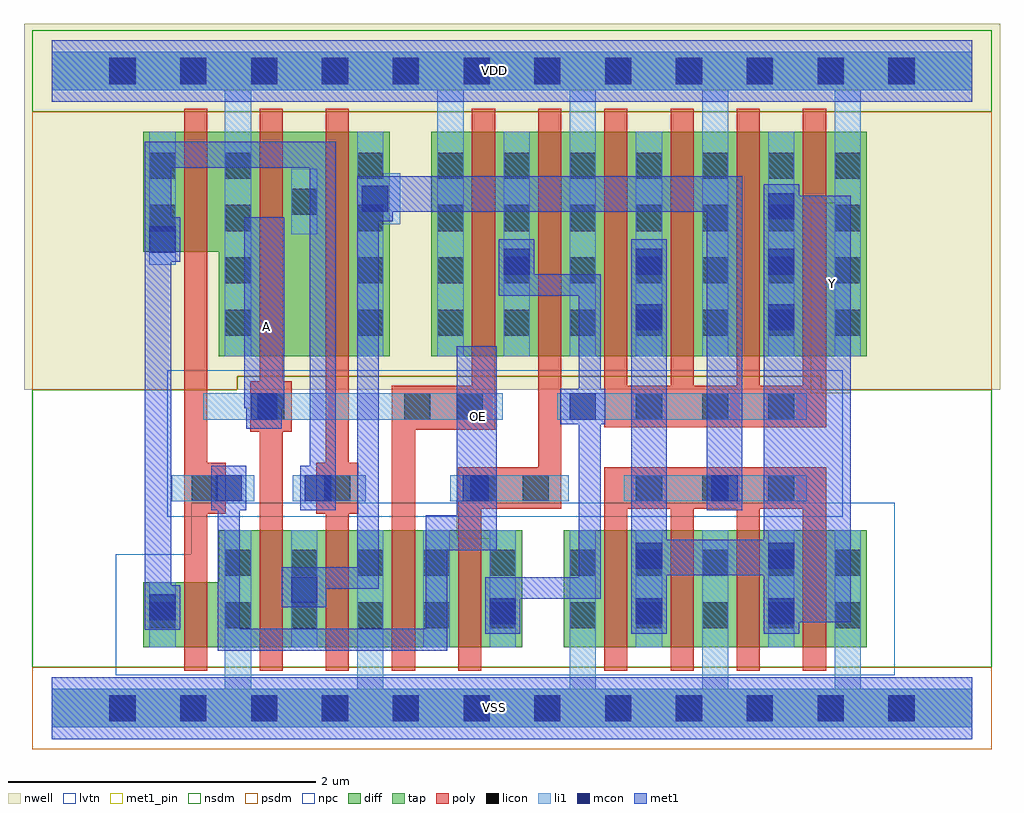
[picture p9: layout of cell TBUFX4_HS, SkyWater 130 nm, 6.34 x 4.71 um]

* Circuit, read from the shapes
.subckt TBUFX4_HS A OE VDD VSS Y
XM1 VSS OE n1 VSS sky130_fd_pr__nfet_01v8_lvt w=0.425 l=0.15
XM2 n2 A VSS VSS sky130_fd_pr__nfet_01v8_lvt w=0.76 l=0.15
XM3 VSS n1 n2 VSS sky130_fd_pr__nfet_01v8_lvt w=0.76 l=0.15
XM4 n3 A VSS VSS sky130_fd_pr__nfet_01v8_lvt w=0.76 l=0.15
XM5 n4 OE n3 VSS sky130_fd_pr__nfet_01v8_lvt w=0.76 l=0.15
XM6 Y n2 VSS VSS sky130_fd_pr__nfet_01v8_lvt w=0.76 l=0.15 m=4
XM7 VDD OE n1 VDD sky130_fd_pr__pfet_01v8 w=0.78 l=0.15
XM8 n5 A VDD VDD sky130_fd_pr__pfet_01v8 w=1.46 l=0.15
XM9 n2 n1 n5 VDD sky130_fd_pr__pfet_01v8 w=1.46 l=0.15
XM10 n4 A VDD VDD sky130_fd_pr__pfet_01v8 w=1.46 l=0.15
XM11 VDD OE n4 VDD sky130_fd_pr__pfet_01v8 w=1.46 l=0.15
XM12 Y n4 VDD VDD sky130_fd_pr__pfet_01v8 w=1.46 l=0.15 m=4
.ends

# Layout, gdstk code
from math import pi, radians
import gdstk
lib = gdstk.Library(unit=1e-6, precision=1e-09)
def R(c, l, rs):  # rectangles x0, y0, x1, y1
    for r in rs: c.add(gdstk.rectangle(r[:2], r[2:], *l))
def A(c, l, x, y, w, h, nx, ny, dx, dy):  # array of equal rectangles
    R(c, l, [(x+i*dx, y+j*dy, x+i*dx+w, y+j*dy+h) for i in range(nx) for j in range(ny)])
def P(c, l, *ps):  # polygons
    for p in ps: c.add(gdstk.Polygon(p, *l))
nwell = (64, 20)
diff = (65, 20)
tap = (65, 44)
poly = (66, 20)
licon = (66, 44)
li1 = (67, 20)
mcon = (67, 44)
met1_pin = (68, 16)
met1 = (68, 20)
nsdm = (93, 44)
psdm = (94, 20)
npc = (95, 20)
lvtn = (125, 44)

l1m1_c_cdns_758729172860 = lib.new_cell('L1M1_C_CDNS_758729172860')
R(l1m1_c_cdns_758729172860, li1, [(-0.165,-0.085,0.165,0.085)])
R(l1m1_c_cdns_758729172860, mcon, [(-0.085,-0.085,0.085,0.085)])
R(l1m1_c_cdns_758729172860, met1, [(-0.115,-0.145,0.115,0.145)])

pyl1con_c_cdns_758729172 = lib.new_cell('PYL1CON_C_CDNS_758729172862')
R(pyl1con_c_cdns_758729172, poly, [(-0.135,-0.165,0.135,0.165)])
R(pyl1con_c_cdns_758729172, licon, [(-0.085,-0.085,0.085,0.085)])
R(pyl1con_c_cdns_758729172, npc, [(-0.185,-0.185,0.185,0.185)])

l1m1_c_cdns_758729172861 = lib.new_cell('L1M1_C_CDNS_758729172861')
R(l1m1_c_cdns_758729172861, li1, [(-0.085,-0.165,0.085,0.165)])
R(l1m1_c_cdns_758729172861, mcon, [(-0.085,-0.085,0.085,0.085)])
R(l1m1_c_cdns_758729172861, met1, [(-0.115,-0.145,0.115,0.145)])

l1m1_c_cdns_758729172864 = lib.new_cell('L1M1_C_CDNS_758729172864')
R(l1m1_c_cdns_758729172864, li1, [(-0.085,-0.345,0.085,0.345)])
R(l1m1_c_cdns_758729172864, mcon, [(-0.085,-0.265,0.085,-0.095), (-0.085,0.095,0.085,0.265)])
R(l1m1_c_cdns_758729172864, met1, [(-0.115,-0.325,0.115,0.325)])

c_l1m1_c_cdns_758729172861 = lib.new_cell('L1M1_C_CDNS_7587291728613')
R(c_l1m1_c_cdns_758729172861, li1, [(-0.085,-0.525,0.085,0.525)])
A(c_l1m1_c_cdns_758729172861, mcon, -0.085, -0.445, 0.17, 0.17, 1, 3, 0, 0.36)
R(c_l1m1_c_cdns_758729172861, met1, [(-0.115,-0.505,0.115,0.505)])

licondiff_c_cdns_7587291 = lib.new_cell('LICONDIFF_C_CDNS_7587291728611')
R(licondiff_c_cdns_7587291, diff, [(-0.125,-0.145,0.125,0.145)])
R(licondiff_c_cdns_7587291, licon, [(-0.085,-0.085,0.085,0.085), (-0.085,-0.085,0.085,0.085)])

l1m1_c_cdns_758729172863 = lib.new_cell('L1M1_C_CDNS_758729172863')
R(l1m1_c_cdns_758729172863, li1, [(-0.085,-0.165,0.085,0.165)])
R(l1m1_c_cdns_758729172863, mcon, [(-0.085,-0.085,0.085,0.085)])
R(l1m1_c_cdns_758729172863, met1, [(-0.145,-0.115,0.145,0.115)])

l1m1_c_cdns_758729172862 = lib.new_cell('L1M1_C_CDNS_7587291728620')
R(l1m1_c_cdns_758729172862, li1, [(-0.085,-0.165,0.165,0.165)])
R(l1m1_c_cdns_758729172862, mcon, [(-0.085,-0.085,0.085,0.085)])
R(l1m1_c_cdns_758729172862, met1, [(-0.115,-0.145,0.115,0.145)])

tbufx4_hs = lib.new_cell('TBUFX4_HS')
R(tbufx4_hs, nwell, [(-0.18,2.07,6.16,4.445)])
R(tbufx4_hs, diff, [(3.325,0.395,5.295,1.155), (2.465,2.285,5.295,3.745)])
P(tbufx4_hs, diff, [(2.195,3.745),(0.595,3.745),(0.595,2.965),(1.085,2.965),(1.085,2.285),(2.195,2.285)],
  [(3.055,1.155),(1.085,1.155),(1.085,0.82),(0.595,0.82),(0.595,0.395),(3.055,0.395)])
A(tbufx4_hs, poly, 3.59, 0.245, 0.15, 1.32, 4, 1, 0.43, 0)
A(tbufx4_hs, poly, 3.59, 1.825, 0.15, 2.07, 4, 1, 0.43, 0)
R(tbufx4_hs, poly, [(0.86,0.245,1.01,3.895), (1.35,0.245,1.5,3.895), (1.78,0.245,1.93,1.305), (1.78,1.325,1.93,3.895)])
P(tbufx4_hs, poly, [(2.88,3.895),(2.73,3.895),(2.73,2.095),(2.21,2.095),(2.21,0.245),(2.36,0.245),(2.36,1.81),(2.88,1.81)],
  [(3.31,3.895),(3.16,3.895),(3.16,1.565),(2.64,1.565),(2.64,0.245),(2.79,0.245),(2.79,1.295),(3.31,1.295)])
A(tbufx4_hs, licon, 0.375, -0.085, 0.17, 0.17, 12, 2, 0.46, 4.14)
A(tbufx4_hs, licon, 1.125, 0.52, 0.17, 0.17, 5, 2, 0.43, 0.34)
A(tbufx4_hs, licon, 3.365, 0.52, 0.17, 0.17, 5, 2, 0.43, 0.34)
A(tbufx4_hs, licon, 1.125, 2.42, 0.17, 0.17, 1, 4, 0, 0.34)
A(tbufx4_hs, licon, 1.985, 2.42, 0.17, 0.17, 1, 4, 0, 0.34)
A(tbufx4_hs, licon, 2.505, 2.42, 0.17, 0.17, 7, 4, 0.43, 0.34)
R(tbufx4_hs, licon, [(0.635,0.52,0.805,0.69), (0.635,3.1,0.805,3.27), (0.635,3.44,0.805,3.61)])
A(tbufx4_hs, li1, 2.935, 2.285, 0.17, 1.46, 3, 1, 0.86, 0)
R(tbufx4_hs, li1, [(0.635,0.395,0.805,0.82), (1.555,0.395,1.725,1.155), (2.415,0.395,2.585,1.155), (2.845,0.395,3.015,1.155), (3.795,0.395,3.965,1.155), (4.655,0.395,4.825,1.155), (1.985,2.285,2.155,3.745), (0.635,2.965,0.805,3.745)])
P(tbufx4_hs, li1, [(5.98,4.265),(0,4.265),(0,4.015),(1.125,4.015),(1.125,2.285),(1.295,2.285),(1.295,4.015),(2.505,4.015),(2.505,2.285),(2.675,2.285),(2.675,4.015),(3.365,4.015),(3.365,2.285),(3.535,2.285),(3.535,4.015),(4.225,4.015),(4.225,2.285),(4.395,2.285),(4.395,4.015),(5.085,4.015),(5.085,2.285),(5.255,2.285),(5.255,4.015),(5.98,4.015)],
  [(5.98,0.125),(5.255,0.125),(5.255,1.155),(5.085,1.155),(5.085,0.125),(4.395,0.125),(4.395,1.155),(4.225,1.155),(4.225,0.125),(3.535,0.125),(3.535,1.155),(3.365,1.155),(3.365,0.125),(2.155,0.125),(2.155,1.155),(1.985,1.155),(1.985,0.125),(1.295,0.125),(1.295,1.155),(1.125,1.155),(1.125,0.125),(0,0.125),(0,-0.125),(5.98,-0.125)])
A(tbufx4_hs, mcon, 0.375, -0.085, 0.17, 0.17, 12, 2, 0.46, 4.14)
R(tbufx4_hs, met1_pin, [(2.63,1.1,2.89,2.35), (1.25,1.95,1.51,3.19), (4.93,2.045,5.19,3.285)])
P(tbufx4_hs, met1, [(2.89,2.35),(2.63,2.35),(2.63,1.255),(2.43,1.255),(2.43,0.515),(1.22,0.515),(1.22,1.575),(1.08,1.575),(1.08,0.375),(2.57,0.375),(2.57,1.025),(2.89,1.025)],
  [(3.565,2.82),(2.905,2.82),(2.905,2.68),(3.425,2.68),(3.425,0.85),(2.815,0.85),(2.815,0.63),(3.045,0.63),(3.045,0.71),(3.565,0.71)],
  [(4.485,3.455),(1.985,3.455),(1.985,0.915),(1.495,0.915),(1.495,0.775),(2.125,0.775),(2.125,3.225),(4.255,3.225),(4.255,1.34),(4.485,1.34)],
  [(5.19,3.33),(4.625,3.33),(4.625,1.095),(3.995,1.095),(3.995,2.97),(3.765,2.97),(3.765,0.56),(3.995,0.56),(3.995,0.865),(4.625,0.865),(4.625,0.56),(5.19,0.56)])
R(tbufx4_hs, nsdm, [(-0.125,3.875,6.105,4.405)])
P(tbufx4_hs, nsdm, [(6.105,2.07),(5,2.07),(5,2.155),(1.205,2.155),(1.205,2.07),(-0.125,2.07),(-0.125,0.265),(6.105,0.265)])
R(tbufx4_hs, psdm, [(-0.125,-0.265,6.105,0.265)])
P(tbufx4_hs, psdm, [(6.105,3.875),(-0.125,3.875),(-0.125,2.07),(1.205,2.07),(1.205,2.155),(5,2.155),(5,2.07),(6.105,2.07)])
R(tbufx4_hs, npc, [(0.75,1.245,5.14,2.195)])
P(tbufx4_hs, lvtn, [(5.475,1.335),(0.905,1.335),(0.905,1),(0.415,1),(0.415,0.215),(5.475,0.215)])
tbufx4_hs.add(gdstk.FlexPath([(0,4.14),(5.98,4.14)], 0.4, ends="flush", simple_path=True, layer=68, datatype=16))  # met1_pin
tbufx4_hs.add(gdstk.FlexPath([(0,0),(5.98,0)], 0.4, ends="flush", simple_path=True, layer=68, datatype=16))  # met1_pin
tbufx4_hs.add(gdstk.FlexPath([(0,4.14),(5.98,4.14)], 0.4, ends="flush", simple_path=True, layer=68, datatype=20))  # met1
tbufx4_hs.add(gdstk.FlexPath([(0,0),(5.98,0)], 0.4, ends="flush", simple_path=True, layer=68, datatype=20))  # met1
tbufx4_hs.add(gdstk.FlexPath([(1.38,1.95),(1.38,3.19)], 0.26, ends="flush", simple_path=True, layer=68, datatype=20))  # met1
tbufx4_hs.add(gdstk.FlexPath([(1.76,1.37),(1.76,3.595),(0.69,3.595),(0.69,0.585)], 0.17, ends="flush", simple_path=True, layer=68, datatype=20))  # met1
tbufx4_hs.add(gdstk.FlexPath([(3.36,1.43),(2.59,1.43)], 0.17, ends="flush", simple_path=True, layer=67, datatype=20))  # li1
tbufx4_hs.add(gdstk.FlexPath([(1.315,1.43),(0.78,1.43)], 0.17, ends="flush", simple_path=True, layer=67, datatype=20))  # li1
tbufx4_hs.add(gdstk.FlexPath([(2.93,1.96),(0.985,1.96)], 0.17, ends="flush", simple_path=True, layer=67, datatype=20))  # li1
tbufx4_hs.add(gdstk.FlexPath([(3.715,1.43),(4.905,1.43)], 0.17, ends="flush", simple_path=True, layer=67, datatype=20))  # li1
tbufx4_hs.add(gdstk.FlexPath([(1.64,3.08),(1.64,3.505)], 0.17, ends="flush", simple_path=True, layer=67, datatype=20))  # li1
tbufx4_hs.add(gdstk.FlexPath([(3.285,1.96),(4.905,1.96)], 0.17, ends="flush", simple_path=True, layer=67, datatype=20))  # li1
tbufx4_hs.add(gdstk.FlexPath([(2.04,1.43),(1.565,1.43)], 0.17, ends="flush", simple_path=True, layer=67, datatype=20))  # li1
tbufx4_hs.add(gdstk.FlexPath([(0,4.14),(5.98,4.14)], 0.25, ends="flush", simple_path=True, layer=65, datatype=44))  # tap
tbufx4_hs.add(gdstk.FlexPath([(0,0),(5.98,0)], 0.25, ends="flush", simple_path=True, layer=65, datatype=44))  # tap
tbufx4_hs.add(gdstk.Reference(l1m1_c_cdns_758729172860, (2.755,1.43), rotation=pi))
tbufx4_hs.add(gdstk.Reference(l1m1_c_cdns_758729172860, (1.73,1.43), rotation=pi))
tbufx4_hs.add(gdstk.Reference(l1m1_c_cdns_758729172860, (1.38,1.96), x_reflection=True))
tbufx4_hs.add(gdstk.Reference(l1m1_c_cdns_758729172860, (4.37,1.43)))
tbufx4_hs.add(gdstk.Reference(l1m1_c_cdns_758729172860, (1.15,1.43), x_reflection=True))
tbufx4_hs.add(gdstk.Reference(pyl1con_c_cdns_758729172, (2.375,1.96), rotation=3*pi/2))
tbufx4_hs.add(gdstk.Reference(pyl1con_c_cdns_758729172, (3.145,1.43), rotation=3*pi/2))
tbufx4_hs.add(gdstk.Reference(pyl1con_c_cdns_758729172, (1.425,1.96)))
tbufx4_hs.add(gdstk.Reference(pyl1con_c_cdns_758729172, (2.805,1.43), rotation=3*pi/2))
tbufx4_hs.add(gdstk.Reference(pyl1con_c_cdns_758729172, (1.855,1.43)))
tbufx4_hs.add(gdstk.Reference(pyl1con_c_cdns_758729172, (0.995,1.43), rotation=pi, x_reflection=True))
tbufx4_hs.add(gdstk.Reference(pyl1con_c_cdns_758729172, (3.88,1.43), rotation=3*pi/2))
tbufx4_hs.add(gdstk.Reference(pyl1con_c_cdns_758729172, (4.74,1.43), rotation=3*pi/2))
tbufx4_hs.add(gdstk.Reference(pyl1con_c_cdns_758729172, (4.31,1.43), rotation=3*pi/2))
tbufx4_hs.add(gdstk.Reference(pyl1con_c_cdns_758729172, (2.715,1.96), rotation=3*pi/2))
tbufx4_hs.add(gdstk.Reference(pyl1con_c_cdns_758729172, (4.74,1.96), rotation=3*pi/2))
tbufx4_hs.add(gdstk.Reference(pyl1con_c_cdns_758729172, (4.31,1.96), rotation=3*pi/2))
tbufx4_hs.add(gdstk.Reference(pyl1con_c_cdns_758729172, (3.88,1.96), rotation=3*pi/2))
tbufx4_hs.add(gdstk.Reference(l1m1_c_cdns_758729172861, (2.93,0.63)))
tbufx4_hs.add(gdstk.Reference(l1m1_c_cdns_758729172861, (3.02,2.9)))
tbufx4_hs.add(gdstk.Reference(l1m1_c_cdns_758729172861, (3.45,1.96), rotation=pi/2))
tbufx4_hs.add(gdstk.Reference(l1m1_c_cdns_758729172861, (0.72,3.045), rotation=pi, x_reflection=True))
tbufx4_hs.add(gdstk.Reference(l1m1_c_cdns_758729172861, (0.72,0.655), rotation=pi, x_reflection=True))
tbufx4_hs.add(gdstk.Reference(l1m1_c_cdns_758729172864, (3.88,0.81)))
tbufx4_hs.add(gdstk.Reference(l1m1_c_cdns_758729172864, (3.88,2.72)))
tbufx4_hs.add(gdstk.Reference(l1m1_c_cdns_758729172864, (4.74,0.81)))
tbufx4_hs.add(gdstk.Reference(c_l1m1_c_cdns_758729172861, (4.74,2.9)))
tbufx4_hs.add(gdstk.Reference(licondiff_c_cdns_7587291, (1.64,3.29)))
tbufx4_hs.add(gdstk.Reference(licondiff_c_cdns_7587291, (2.5,0.605)))
tbufx4_hs.add(gdstk.Reference(l1m1_c_cdns_758729172863, (1.64,0.77)))
tbufx4_hs.add(gdstk.Reference(l1m1_c_cdns_758729172862, (2.1,3.31)))
tbufx4_hs.add(gdstk.Label('VSS', (2.875,0.005), layer=68, texttype=5))
tbufx4_hs.add(gdstk.Label('Y', (5.075,2.76), layer=68, texttype=5))
tbufx4_hs.add(gdstk.Label('OE', (2.775,1.895), layer=68, texttype=5))
tbufx4_hs.add(gdstk.Label('A', (1.395,2.48), layer=68, texttype=5))
tbufx4_hs.add(gdstk.Label('VDD', (2.875,4.145), layer=68, texttype=5))

lib.write_gds('TBUFX4_HS.gds')
